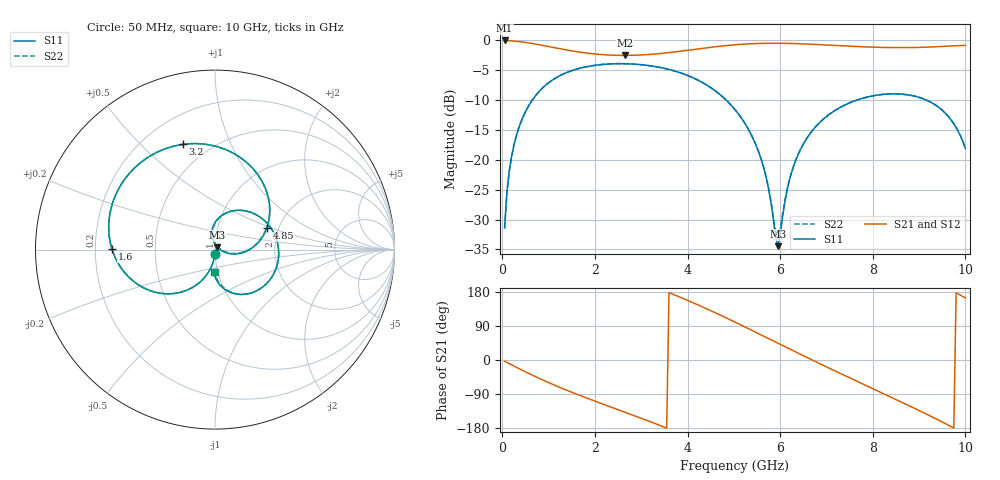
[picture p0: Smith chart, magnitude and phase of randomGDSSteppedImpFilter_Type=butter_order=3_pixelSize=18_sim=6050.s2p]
! freq	dB(S11)	phase(S11)	dB(S12)	phase(S12)
!  dB(S21)	phase(S21)	dB(S22)	phase(S22)
!S-par simulation data
#  GHz  S  DB  R 50
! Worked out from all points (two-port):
!   200 points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, 50 MHz to 10 GHz, reference 50 ohm
!   highest |S21| = -0.01 dB at 50 MHz (marker M1); lowest = -2.5 dB at 2.65 GHz (marker M2)
!   |S21| within 3 dB of the highest: start of sweep to end of sweep
!   lowest |S11| = -34.5 dB at 5.95 GHz (marker M3), VSWR 1.04, Z = 51.3 + j1.39 ohm
!   |S11| at or under -10 dB: start of sweep to 647.3 MHz; 4.835 GHz to 7.654 GHz (2.82 GHz wide, 45.2 % of centre); 9.159 GHz to end of sweep
!   |S22| runs from -33.1 to -3.9 dB; largest |S21 - S12| = 0
!   S11 on the Smith chart (normalised r, x): 50 MHz: 1.00, -0.05; 1.6 GHz: 0.27, +0.00; 3.2 GHz: 0.36, +0.68; 4.85 GHz: 1.73, +0.46; 10 GHz: 0.96, -0.24
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0.05  -31.41 -93.2  -0.01 -3.2  -0.01 -3.2  -31.41 -93.2
0.1  -25.41 -96.6  -0.02 -6.4  -0.02 -6.4  -25.41 -96.6
0.2  -19.47 -103.1  -0.07 -12.7  -0.07 -12.7  -19.48 -103.1
0.45  -12.78 -118.6  -0.28 -28.1  -0.28 -28.1  -12.78 -118.6
1  -7.09 -150.2  -1.03 -59.6  -1.03 -59.6  -7.09 -150.1
1.6  -4.81 179.6  -1.88 -89.9  -1.88 -89.9  -4.81 179.6
1.75  -4.52 172.5  -2.05 -97.0  -2.05 -97.0  -4.52 172.5
2.65  -3.90 131.9  -2.51 -137.7  -2.51 -137.7  -3.90 131.9
3.2  -4.25 106.8  -2.33 -163.0  -2.33 -163.0  -4.25 106.9
3.4  -4.52 97.4  -2.20 -172.5  -2.20 -172.5  -4.52 97.6
4.15  -6.37 60.1  -1.50 149.5  -1.50 149.5  -6.37 60.3
4.85  -10.11 22.4  -0.85 110.3  -0.85 110.3  -10.11 22.9
5.05  -11.83 11.5  -0.71 98.5  -0.71 98.5  -11.82 12.1
5.6  -20.16 -14.3  -0.49 65.6  -0.49 65.6  -20.10 -12.5
5.95  -34.46 45.7  -0.47 44.4  -0.47 44.4  -33.14 45.5
6.25  -22.04 102.4  -0.51 26.4  -0.51 26.4  -21.95 100.3
6.7  -15.07 83.6  -0.65 -0.4  -0.65 -0.4  -15.05 82.8
7.6  -10.15 35.2  -1.00 -52.7  -1.00 -52.7  -10.15 35.0
8.35  -8.97 -5.4  -1.19 -95.6  -1.19 -95.6  -8.97 -5.2
8.8  -9.17 -29.8  -1.20 -121.6  -1.20 -121.6  -9.16 -29.4
9.3  -10.56 -57.4  -1.09 -151.2  -1.09 -151.2  -10.55 -56.6
10  -18.10 -93.1  -0.83 163.9  -0.83 163.9  -18.00 -90.5
